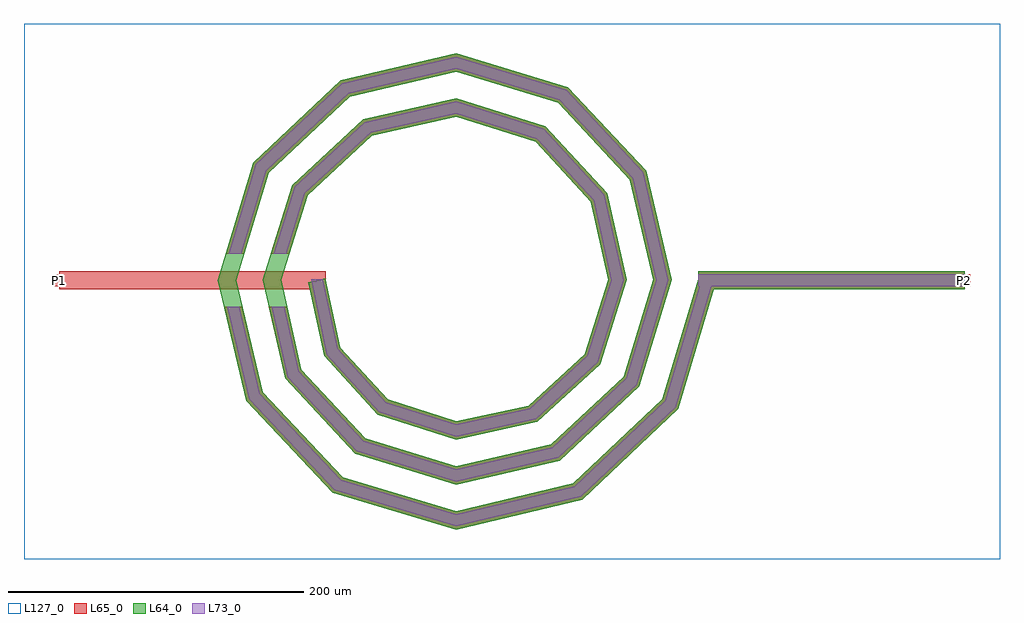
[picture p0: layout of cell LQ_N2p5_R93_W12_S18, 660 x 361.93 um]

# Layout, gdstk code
import gdstk
lib = gdstk.Library(unit=1e-6, precision=1e-09)
def R(c, l, rs):  # rectangles x0, y0, x1, y1
    for r in rs: c.add(gdstk.rectangle(r[:2], r[2:], *l))
def P(c, l, *ps):  # polygons
    for p in ps: c.add(gdstk.Polygon(p, *l))
L64_0 = (64, 0)
L65_0 = (65, 0)
L73_0 = (73, 0)
L127_0 = (127, 0)

lq_n2p5_r93_w12_s18 = lib.new_cell('LQ_N2p5_R93_W12_S18')
R(lq_n2p5_r93_w12_s18, L64_0, [(163.929,-6,343.929,6)])
P(lq_n2p5_r93_w12_s18, L64_0, [(-78.129,-45.458),(-46.204,-80.618),(0.288,-95.448),(49.232,-84.71),(87.177,-50.015),(103.033,0.268),(91.288,53.008),(53.823,93.737),(0.251,110.619),(-56.786,97.866),(-100.298,57.63),(-118.204,0.235),(-104.442,-60.566),(-61.435,-106.861),(0.222,-125.79),(64.348,-111.018),(113.424,-65.239),(133.376,0.21),(117.594,68.131),(69.041,119.988),(0.199,140.962),(-71.915,124.168),(-126.552,72.843),(-148.547,0.189),(-130.743,-75.699),(-76.644,-133.117),(0.18,-156.133),(79.485,-137.316),(139.683,-80.444),(164.179,1.714),(175.679,-1.714),(150.263,-86.956),(85.387,-148.249),(0.18,-168.552),(-83.17,-143.689),(-141.684,-81.586),(-160.966,0.189),(-137.114,79.385),(-77.785,135.118),(0.199,153.379),(75.601,130.539),(128.554,73.982),(145.793,0.21),(123.964,-71.817),(70.179,-121.989),(0.222,-138.207),(-68.035,-117.387),(-115.426,-66.375),(-130.62,0.235),(-110.81,64.254),(-62.569,108.863),(0.251,123.033),(60.474,104.232),(102.301,58.761),(115.447,0.268),(97.652,-56.697),(54.951,-95.74),(0.288,-107.86),(-52.921,-91.071),(-89.181,-51.138),(-99.933,-1.265),(-88.203,1.265)])
R(lq_n2p5_r93_w12_s18, L65_0, [(-268.068,-6,-88.068,6), (163.929,-6,343.929,6), (-272.068,-4,-264.068,4), (339.929,-4,347.929,4)])
P(lq_n2p5_r93_w12_s18, L65_0, [(-130.743,-75.699),(-76.644,-133.117),(0.181,-156.133),(79.485,-137.316),(139.683,-80.444),(164.179,1.714),(175.679,-1.714),(150.263,-86.956),(85.387,-148.249),(0.181,-168.552),(-83.171,-143.689),(-141.684,-81.586),(-156.677,-18),(-144.348,-18)],
  [(-104.442,-60.566),(-61.435,-106.861),(0.222,-125.79),(64.348,-111.018),(113.424,-65.239),(133.376,0.21),(117.594,68.131),(69.041,119.988),(0.199,140.962),(-71.915,124.168),(-126.552,72.843),(-143.069,18),(-155.602,18),(-137.114,79.385),(-77.785,135.118),(0.199,153.379),(75.601,130.539),(128.554,73.982),(145.793,0.21),(123.964,-71.817),(70.179,-121.989),(0.222,-138.207),(-68.035,-117.387),(-115.426,-66.375),(-126.46,-18),(-114.152,-18)],
  [(-46.204,-80.618),(0.288,-95.448),(49.232,-84.71),(87.177,-50.015),(103.033,0.268),(91.288,53.008),(53.823,93.737),(0.251,110.619),(-56.786,97.866),(-100.298,57.63),(-112.562,18),(-125.123,18),(-110.81,64.254),(-62.569,108.863),(0.251,123.033),(60.474,104.232),(102.301,58.761),(115.447,0.268),(97.652,-56.697),(54.951,-95.74),(0.288,-107.86),(-52.921,-91.071),(-89.181,-51.138),(-99.933,-1.265),(-88.203,1.265),(-78.129,-45.458)])
R(lq_n2p5_r93_w12_s18, L73_0, [(163.929,-4,343.929,4)])
P(lq_n2p5_r93_w12_s18, L73_0, [(-132.566,-76.681),(-77.731,-134.879),(0.12,-158.203),(80.469,-139.139),(141.446,-81.529),(166.096,1.143),(173.762,-1.143),(148.5,-85.871),(84.403,-146.427),(0.12,-166.482),(-82.083,-141.927),(-139.86,-80.605),(-154.622,-18),(-146.403,-18)],
  [(-106.273,-61.534),(-62.535,-108.615),(0.148,-127.86),(65.32,-112.847),(115.181,-66.335),(135.445,0.14),(119.42,69.106),(70.134,121.746),(0.133,143.031),(-72.893,125.993),(-128.313,73.933),(-145.158,18),(-153.513,18),(-135.354,78.295),(-76.806,133.293),(0.133,151.31),(74.508,128.781),(126.727,73.007),(143.724,0.14),(122.207,-70.721),(69.207,-120.161),(0.148,-136.137),(-66.935,-115.633),(-113.595,-65.406),(-124.409,-18),(-116.204,-18)],
  [(-47.324,-82.361),(0.192,-97.517),(50.185,-86.548),(88.923,-51.128),(105.102,0.179),(93.124,53.967),(54.932,95.486),(0.167,112.688),(-57.75,99.699),(-102.05,58.734),(-114.655,18),(-123.029,18),(-109.058,63.15),(-61.605,107.03),(0.167,120.964),(59.366,102.483),(100.465,57.802),(113.378,0.179),(95.907,-55.583),(53.998,-93.902),(0.192,-105.791),(-51.802,-89.329),(-87.339,-50.192),(-97.978,0.843),(-90.158,0.843),(-79.971,-46.405)])
R(lq_n2p5_r93_w12_s18, L127_0, [(-292.068,-188.552,367.929,173.379)])
lq_n2p5_r93_w12_s18.add(gdstk.Label('P2', (343.929,0), layer=65, texttype=0))
lq_n2p5_r93_w12_s18.add(gdstk.Label('P1', (-268.068,0), layer=65, texttype=0))
lq_n2p5_r93_w12_s18.add(gdstk.Label('P2', (347.929,0), layer=145, texttype=0))
lq_n2p5_r93_w12_s18.add(gdstk.Label('P1', (-272.068,0), layer=145, texttype=0))

lib.write_gds('LQ_N2p5_R93_W12_S18.gds')
